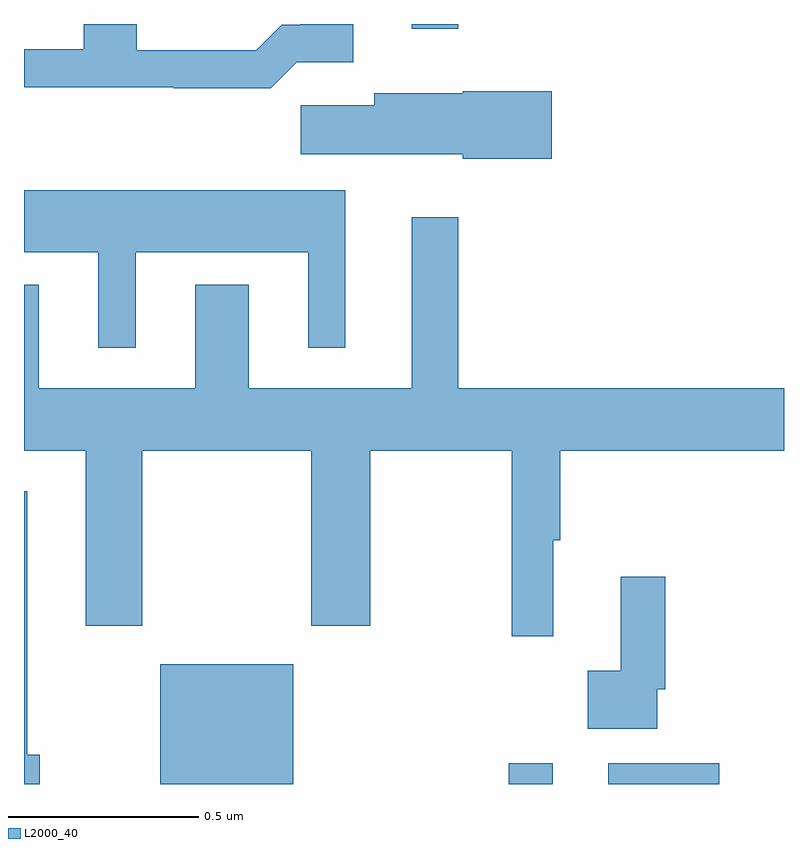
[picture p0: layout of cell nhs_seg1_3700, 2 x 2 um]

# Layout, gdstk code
import gdstk
lib = gdstk.Library(unit=1e-6, precision=1e-09)
def R(c, l, rs):  # rectangles x0, y0, x1, y1
    for r in rs: c.add(gdstk.rectangle(r[:2], r[2:], *l))
def P(c, l, *ps):  # polygons
    for p in ps: c.add(gdstk.Polygon(p, *l))
L2000_40 = (2000, 40)

nhs_seg1_3700 = lib.new_cell('nhs_seg1_3700')
R(nhs_seg1_3700, L2000_40, [(157.358,540.199,157.708,540.514), (158.275,540.199,158.392,540.253), (158.537,540.199,158.83,540.253), (158.021,542.187,158.143,542.199)])
P(nhs_seg1_3700, L2000_40, [(157.718,542.099),(157.867,542.099),(157.867,542.199),(157.727,542.199),(157.727,542.197),(157.678,542.197),(157.611,542.13),(157.297,542.13),(157.297,542.199),(157.157,542.199),(157.157,542.133),(157,542.133),(157,542.032),(157.393,542.032),(157.393,542.03),(157.649,542.03)],
  [(158.389,542.022),(158.154,542.022),(158.154,542.017),(157.922,542.017),(157.922,541.985),(157.728,541.985),(157.728,541.856),(158.154,541.856),(158.154,541.844),(158.389,541.844)],
  [(157.294,541.598),(157.748,541.598),(157.748,541.347),(157.846,541.347),(157.846,541.762),(157,541.762),(157,541.598),(157.196,541.598),(157.196,541.347),(157.294,541.347)],
  [(158.393,540.84),(158.411,540.84),(158.411,541.076),(159,541.076),(159,541.24),(158.143,541.24),(158.143,541.69),(158.021,541.69),(158.021,541.24),(157.591,541.24),(157.591,541.513),(157.451,541.513),(157.451,541.24),(157.039,541.24),(157.039,541.513),(157,541.513),(157,541.076),(157.163,541.076),(157.163,540.615),(157.311,540.615),(157.311,541.076),(157.756,541.076),(157.756,540.615),(157.911,540.615),(157.911,541.076),(158.283,541.076),(158.283,540.588),(158.393,540.588)],
  [(157.041,540.276),(157.009,540.276),(157.009,540.97),(157,540.97),(157,540.199),(157.041,540.199)],
  [(158.667,540.448),(158.687,540.448),(158.687,540.745),(158.57,540.745),(158.57,540.497),(158.484,540.497),(158.484,540.344),(158.667,540.344)])

lib.write_gds('nhs_seg1_3700.gds')
